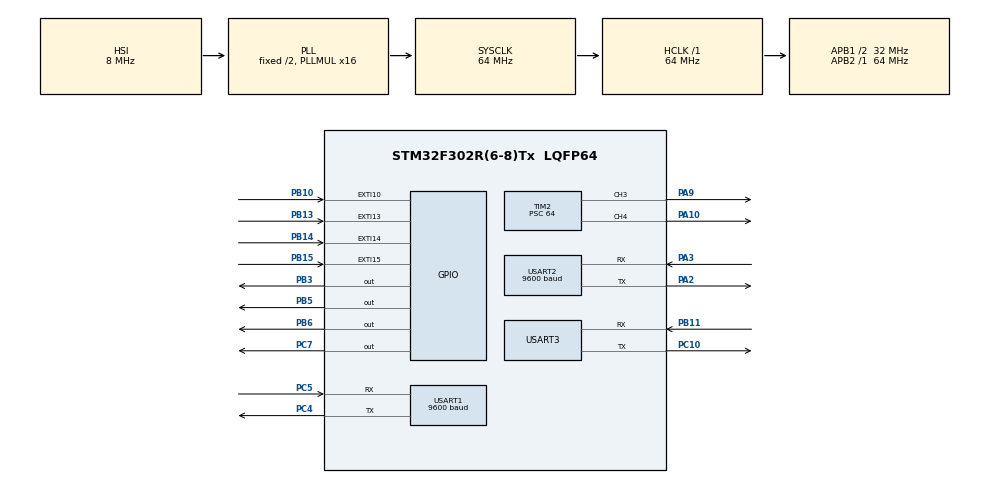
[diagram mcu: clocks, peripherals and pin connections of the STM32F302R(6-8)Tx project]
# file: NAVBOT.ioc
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Mcu.Family=STM32F3
Mcu.Name=STM32F302R(6-8)Tx
Mcu.Package=LQFP64
NVIC.EXTI15_10_IRQn=true\:0\:0\:false\:false\:true\:true
NVIC.PriorityGroup=NVIC_PRIORITYGROUP_0
NVIC.TIM2_IRQn=true\:0\:0\:false\:false\:true\:true
NVIC.USART1_IRQn=true\:0\:0\:false\:false\:true\:true
NVIC.USART2_IRQn=true\:0\:0\:false\:false\:true\:true
NVIC.USART3_IRQn=true\:0\:0\:false\:false\:true\:true
PA10.Signal=S_TIM2_CH4
PA2.Mode=Asynchronous
PA2.Signal=USART2_TX
PA3.Mode=Asynchronous
PA3.Signal=USART2_RX
PA9.Signal=S_TIM2_CH3
PB10.GPIO_ModeDefaultEXTI=GPIO_MODE_IT_RISING_FALLING
PB10.Signal=GPXTI10
PB11.Mode=Asynchronous
PB11.Signal=USART3_RX
PB13.GPIO_ModeDefaultEXTI=GPIO_MODE_IT_RISING_FALLING
PB13.Signal=GPXTI13
PB14.GPIO_ModeDefaultEXTI=GPIO_MODE_IT_RISING_FALLING
PB14.Signal=GPXTI14
PB15.GPIO_ModeDefaultEXTI=GPIO_MODE_IT_RISING_FALLING
PB15.Signal=GPXTI15
PB3.Signal=GPIO_Output
PB5.Signal=GPIO_Output
PB6.Signal=GPIO_Output
PC10.Mode=Asynchronous
PC10.Signal=USART3_TX
PC4.Mode=Asynchronous
PC4.Signal=USART1_TX
PC5.Mode=Asynchronous
PC5.Signal=USART1_RX
PC7.Signal=GPIO_Output
ProjectManager.HeapSize=0x200
ProjectManager.StackSize=0x400
ProjectManager.TargetToolchain=SW4STM32
RCC.AHBFreq_Value=64000000
RCC.APB1CLKDivider=RCC_HCLK_DIV2
RCC.APB1Freq_Value=32000000
RCC.APB1TimFreq_Value=64000000
RCC.APB2Freq_Value=64000000
RCC.APB2TimFreq_Value=64000000
RCC.CortexFreq_Value=64000000
RCC.HCLKFreq_Value=64000000
RCC.HSE_VALUE=8000000
RCC.HSI_VALUE=8000000
RCC.LSE_VALUE=32768
RCC.PLLM=8
RCC.PLLMUL=RCC_PLL_MUL16
RCC.PLLN=336
RCC.PLLP=RCC_PLLP_DIV4
RCC.PLLQ=7
RCC.RCC_PLLsource_Clock_Source_FROM_HSE=RCC_HSE_PREDIV_DIV2
RCC.SYSCLKFreq_VALUE=64000000
RCC.SYSCLKSourceVirtual=RCC_SYSCLKSOURCE_PLLCLK
RCC.USBFreq_Value=64000000
SH.S_TIM2_CH3.0=TIM2_CH3,PWM Generation3 CH3
SH.S_TIM2_CH4.0=TIM2_CH4,PWM Generation4 CH4
TIM2.Channel-PWM\ Generation3\ CH3=TIM_CHANNEL_3
TIM2.Channel-PWM\ Generation4\ CH4=TIM_CHANNEL_4
TIM2.Period=100
TIM2.Prescaler=64
USART1.BaudRate=9600
USART1.VirtualMode-Asynchronous=VM_ASYNC
USART2.BaudRate=9600
USART2.VirtualMode-Asynchronous=VM_ASYNC
USART3.VirtualMode-Asynchronous=VM_ASYNC
VP_TIM2_VS_ClockSourceINT.Mode=Internal
board=NUCLEO-F302R8

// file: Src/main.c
#include "main.h"
#include "stm32f3xx_hal.h"

/* USER CODE BEGIN Includes */
#include "math.h"
#include "string.h"
#include "stdio.h"
#include "stdlib.h"
#include "stm32f3xx_it.h"
/* USER CODE END Includes */

TIM_HandleTypeDef htim2;

UART_HandleTypeDef huart1;
UART_HandleTypeDef huart2;
UART_HandleTypeDef huart3;

/* USER CODE BEGIN PV */
/* Private variables ---------------------------------------------------------*/

//communications
uint8_t buffer_rxx[63];
uint8_t mag_buffer[1];

uint8_t f255=0;
uint8_t s255=0;
uint8_t byte1 = 0;
uint8_t byte2 = 0;
uint8_t byte3 = 0;
uint8_t byte4 = 0;
uint8_t byte_counter = 0;

uint8_t fc255=0;
uint8_t sc255=0;
uint16_t c_len=0;
uint16_t coordinate_count;
uint8_t coordinate_buffer[68];
uint8_t coordinate_buffer_test[60];
uint8_t camera_coordinate_buffer[4];

//uint8_t *camera_coordinates, *camera_temp;
//uint8_t camera_coordinate_count = 0;
//uint8_t fcc255 = 0;
//uint8_t cc_len = 0;
//uint8_t ccrecv = 0;

float mag_data;

//via point variables
int coordinates_received = 0;
int imu_data_received = 0;

//square via points
float x_via_points[] = {0.5,  1.0,  2.0,  2.5,  3.5, 2.5, 2.0, 1.0, 0.0};
float y_via_points[] = {0.0, -0.5, -2.0, -2.5, -3.5,-2.5,-2.0,-0.5, 0.0};

uint8_t *coordinates,*temp;
float *x_via_point_ptr,*y_via_point_ptr,*x_via_point_temp,*y_via_point_temp;

//Global coordinates
float Global_X   = 0;
float Global_Y   = 0;
float Global_phi = 0;

float Global_phi_d = 0;
float Global_X_cam = 0;
float Global_Y_cam = 0;
float Global_phi_cam = 0;

float camera_x = 0;
float camera_y = 0;

uint16_t sum_of_array = 0;
uint16_t previous_sum_of_array = 0;

//Camera variables
uint8_t camera_data_available = 0;

//Encoder counters
int32_t EN1_pulse_counter=0;
int32_t EN2_pulse_counter=0;

//time variables
uint32_t tic=0;
uint32_t toc=0;
uint32_t loop_time=1;

//Encoder 1 variables
float EN1_degrees = 0;
float EN1_previous_degrees = 0;
float EN1_velocity = 0;
float EN1_rotations = 0;
float EN1_rotations_prev = 0;
float EN1_rpm = 0;
float EN1_target_rpm = 1;

//Encoder 2 variables
float EN2_degrees = 0;
float EN2_previous_degrees = 0;
float EN2_velocity = 0;
float EN2_rotations = 0;
float EN2_rotations_prev = 0;
float EN2_rpm = 0;
float EN2_target_rpm = 1;

//UART communication buffer
char buffer[20];
char buffer_tx[] = "hello\n\r";

//Navigation Variables
float dl = 0;
float dr = 0;
float dc = 0;
float phi = 0;
float x_pos = 0;
float y_pos = 0;
float x_goal = 0;
float y_goal = 0;
float phi_d = 0;
float tolerance = 0.1; //10 centimeters
float euclidean_distance = 0;
float dt = 0;
float previous_x_pos = 0;
float previous_y_pos = 0;
float previous_phi = 0;
float Vx = 0;
float Vy = 0;
float Vphi = 0;
float Vl = 0;
float Vr = 0;
float V  = 0;
float phi_dot = 0;
float previous_phi_d = 0;

//Control Variables
//Motor 1 parameters
float M1_Kp = 0.01;
float M1_Ki = 0;
float M1_Kd = 0.1;
float M1_error = 0;
float M1_previous_error = 0;
float M1_diff_error = 0;
float M1_int_error = 0;
float M1_dt=0;
float M1_bias = 0;
float M1_update_pwm = 0;
float M1_pwm = 100;
int M1_moving_average[] = {0,0,0,0,0,0};

//Motor 2 parameters
float M2_Kp = 0.01;
float M2_Ki = 0;
float M2_Kd = 0.1;
float M2_error = 0;
float M2_previous_error = 0;
float M2_diff_error = 0;
float M2_int_error = 0;
float M2_dt=0;
float M2_bias = 0;
float M2_update_pwm = 0;
float M2_pwm = 100;
int M2_moving_average[] = {0,0,0,0,0,0};

//BOT orientation  parameters
float BO_Kp = 40;
float BO_Ki = 0;
float BO_Kd = 0;
float BO_error = 0;
float BO_previous_error = 0;
float BO_diff_error = 0;
float BO_int_error = 0;
float BO_dt=0;
float BO_bias = 0;
float BO_update_pwm = 0;
float BO_pwm = 0;

//BOT constants
float wheel_base   = 0.245;
float wheel_radius = 0.0325;
#define PI 3.14159265358979323846
int encoder_direction[2] = {-1,1};
float wheel_velocity = 90; //rpm
float dist, max_rotations;

uint8_t aRxBuffer[1];
uint8_t recv;
uint8_t mode=0;
uint8_t recvBufSize=1;

uint8_t crecv;
uint8_t cRxBuffer[1];
uint8_t cmode=0;

/* USER CODE END PV */

void SystemClock_Config(void);
static void MX_GPIO_Init(void);
static void MX_USART2_UART_Init(void);
static void MX_TIM2_Init(void);
static void MX_USART1_UART_Init(void);
static void MX_USART3_UART_Init(void);
void HAL_TIM_MspPostInit(TIM_HandleTypeDef *htim);

/* USER CODE BEGIN PFP */
/* Private function prototypes -----------------------------------------------*/
//void print_values(int);
void update_sensor_data(void);
void update_robot_state(void);
void update_robot_control(void);
void update_euclidean_distance(void);
void get_camera_data_status(void);
void convert_data(void);
void PID_BO(void);
void PID_M1(void);
void PID_M2(void);
void get_coordinates(void);

/* USER CODE END PFP */

int main(void)
{

  /* MCU Configuration----------------------------------------------------------*/

  /* Reset of all peripherals, Initializes the Flash interface and the Systick. */
  HAL_Init();

  /* Configure the system clock */
  SystemClock_Config();

  /* Initialize all configured peripherals */
  MX_GPIO_Init();
  MX_USART2_UART_Init();
  MX_TIM2_Init();
  MX_USART1_UART_Init();
  MX_USART3_UART_Init();
  /* USER CODE BEGIN 2 */
  //__HAL_UART_ENABLE_IT(&huart2,UART_IT_RXNE);
  //HAL_UART_Receive_IT(&huart2, coordinates_received, sizeof(coordinates_received));

  HAL_UART_Receive_IT(&huart3, (uint8_t *)cRxBuffer, recvBufSize);
  HAL_UART_Receive_IT(&huart1, (uint8_t *)aRxBuffer, recvBufSize);

  HAL_TIM_PWM_Start(&htim2,TIM_CHANNEL_3);
  HAL_TIM_PWM_Start(&htim2,TIM_CHANNEL_4);
  HAL_GPIO_WritePin(GPIOB,GPIO_PIN_3,1);
  HAL_GPIO_WritePin(GPIOB,GPIO_PIN_5,0);
  HAL_GPIO_WritePin(GPIOC,GPIO_PIN_7,0);
  HAL_GPIO_WritePin(GPIOB,GPIO_PIN_6,1);
  /* USER CODE END 2 */

  /* Infinite loop */
  while (1)
  {
	  __HAL_TIM_SET_COMPARE(&htim2,TIM_CHANNEL_4,100);
	  __HAL_TIM_SET_COMPARE(&htim2,TIM_CHANNEL_3,100);
	  update_robot_state();
  /* USER CODE BEGIN 3 */
  if(coordinates_received==1 && imu_data_received==1)
	{
	  for(int v=0;v<c_len/4;v++)
	  {
		  x_goal = *(x_via_point_ptr+v);
		  y_goal = *(y_via_point_ptr+v);

//		  x_goal = x_via_points[v];
//		  y_goal = y_via_points[v];

		  if(v==0)
		  {
			  HAL_Delay(35000);
		  }

		  while(1)
			  {
			  	  tic = HAL_GetTick();
			  	  update_sensor_data();
			  	  update_robot_state();
			  	  update_robot_control();
			  	  update_euclidean_distance();

			  	  //get_camera_data_status();
			  	  //if(camera_data_available == 1){convert_data();}
			  	  /*if(camera_data_available==0)
			  	  {
			  		  Global_X = Global_X + Vx*100;
			  		  Global_Y = Global_Y + Vy*100;
			  		  Global_phi = Global_phi + Vphi;
			  	  }*/

	  	  	  	  EN1_previous_degrees = EN1_degrees;
	  	  	  	  EN2_previous_degrees = EN2_degrees;

	  	  	  	  HAL_Delay(1);

	  	  	      __HAL_TIM_SET_COMPARE(&htim2,TIM_CHANNEL_4,(int)M1_pwm-3);
	  	  	      __HAL_TIM_SET_COMPARE(&htim2,TIM_CHANNEL_3,(int)M2_pwm);

	  	  	  	  loop_time = HAL_GetTick() - tic;
	  	  	  	  if((float)sqrt(pow((double)(y_goal-y_pos),(double)2)+pow((double)(x_goal-x_pos),(double)2))<0.10){break;}
			  }

	  }

	  __HAL_TIM_SET_COMPARE(&htim2,TIM_CHANNEL_4,100);
	  __HAL_TIM_SET_COMPARE(&htim2,TIM_CHANNEL_3,100);

//	  free(x_via_point_ptr);
//	  free(y_via_point_ptr);
//	  free(coordinates);

//	  }
	  //coordinates_received=0;
  }
 }
}
  /* USER CODE END 3 */

void SystemClock_Config(void)
{

  RCC_OscInitTypeDef RCC_OscInitStruct;
  RCC_ClkInitTypeDef RCC_ClkInitStruct;
  RCC_PeriphCLKInitTypeDef PeriphClkInit;

    /**Initializes the CPU, AHB and APB busses clocks
    */
  RCC_OscInitStruct.OscillatorType = RCC_OSCILLATORTYPE_HSI;
  RCC_OscInitStruct.HSIState = RCC_HSI_ON;
  RCC_OscInitStruct.HSICalibrationValue = 16;
  RCC_OscInitStruct.PLL.PLLState = RCC_PLL_ON;
  RCC_OscInitStruct.PLL.PLLSource = RCC_PLLSOURCE_HSI;
  RCC_OscInitStruct.PLL.PLLMUL = RCC_PLL_MUL16;
  if (HAL_RCC_OscConfig(&RCC_OscInitStruct) != HAL_OK)
  {
    _Error_Handler(__FILE__, __LINE__);
  }

    /**Initializes the CPU, AHB and APB busses clocks
    */
  RCC_ClkInitStruct.ClockType = RCC_CLOCKTYPE_HCLK|RCC_CLOCKTYPE_SYSCLK
                              |RCC_CLOCKTYPE_PCLK1|RCC_CLOCKTYPE_PCLK2;
  RCC_ClkInitStruct.SYSCLKSource = RCC_SYSCLKSOURCE_PLLCLK;
  RCC_ClkInitStruct.AHBCLKDivider = RCC_SYSCLK_DIV1;
  RCC_ClkInitStruct.APB1CLKDivider = RCC_HCLK_DIV2;
  RCC_ClkInitStruct.APB2CLKDivider = RCC_HCLK_DIV1;

  if (HAL_RCC_ClockConfig(&RCC_ClkInitStruct, FLASH_LATENCY_2) != HAL_OK)
  {
    _Error_Handler(__FILE__, __LINE__);
  }

  PeriphClkInit.PeriphClockSelection = RCC_PERIPHCLK_USART1;
  PeriphClkInit.Usart1ClockSelection = RCC_USART1CLKSOURCE_PCLK1;
  if (HAL_RCCEx_PeriphCLKConfig(&PeriphClkInit) != HAL_OK)
  {
    _Error_Handler(__FILE__, __LINE__);
  }

    /**Configure the Systick interrupt time
    */
  HAL_SYSTICK_Config(HAL_RCC_GetHCLKFreq()/1000);

    /**Configure the Systick
    */
  HAL_SYSTICK_CLKSourceConfig(SYSTICK_CLKSOURCE_HCLK);

  /* SysTick_IRQn interrupt configuration */
  HAL_NVIC_SetPriority(SysTick_IRQn, 0, 0);
}

/* TIM2 init function */
static void MX_TIM2_Init(void)
{

  TIM_ClockConfigTypeDef sClockSourceConfig;
  TIM_MasterConfigTypeDef sMasterConfig;
  TIM_OC_InitTypeDef sConfigOC;

  htim2.Instance = TIM2;
  htim2.Init.Prescaler = 64;
  htim2.Init.CounterMode = TIM_COUNTERMODE_UP;
  htim2.Init.Period = 100;
  htim2.Init.ClockDivision = TIM_CLOCKDIVISION_DIV1;
  htim2.Init.AutoReloadPreload = TIM_AUTORELOAD_PRELOAD_DISABLE;
  if (HAL_TIM_Base_Init(&htim2) != HAL_OK)
  {
    _Error_Handler(__FILE__, __LINE__);
  }

  sClockSourceConfig.ClockSource = TIM_CLOCKSOURCE_INTERNAL;
  if (HAL_TIM_ConfigClockSource(&htim2, &sClockSourceConfig) != HAL_OK)
  {
    _Error_Handler(__FILE__, __LINE__);
  }

  if (HAL_TIM_PWM_Init(&htim2) != HAL_OK)
  {
    _Error_Handler(__FILE__, __LINE__);
  }

  sMasterConfig.MasterOutputTrigger = TIM_TRGO_RESET;
  sMasterConfig.MasterSlaveMode = TIM_MASTERSLAVEMODE_DISABLE;
  if (HAL_TIMEx_MasterConfigSynchronization(&htim2, &sMasterConfig) != HAL_OK)
  {
    _Error_Handler(__FILE__, __LINE__);
  }

  sConfigOC.OCMode = TIM_OCMODE_PWM1;
  sConfigOC.Pulse = 0;
  sConfigOC.OCPolarity = TIM_OCPOLARITY_HIGH;
  sConfigOC.OCFastMode = TIM_OCFAST_DISABLE;
  if (HAL_TIM_PWM_ConfigChannel(&htim2, &sConfigOC, TIM_CHANNEL_3) != HAL_OK)
  {
    _Error_Handler(__FILE__, __LINE__);
  }

  if (HAL_TIM_PWM_ConfigChannel(&htim2, &sConfigOC, TIM_CHANNEL_4) != HAL_OK)
  {
    _Error_Handler(__FILE__, __LINE__);
  }

  HAL_TIM_MspPostInit(&htim2);

}

/* USART1 init function */
static void MX_USART1_UART_Init(void)
{

  huart1.Instance = USART1;
  huart1.Init.BaudRate = 9600;
  huart1.Init.WordLength = UART_WORDLENGTH_8B;
  huart1.Init.StopBits = UART_STOPBITS_1;
  huart1.Init.Parity = UART_PARITY_NONE;
  huart1.Init.Mode = UART_MODE_TX_RX;
  huart1.Init.HwFlowCtl = UART_HWCONTROL_NONE;
  huart1.Init.OverSampling = UART_OVERSAMPLING_16;
  huart1.Init.OneBitSampling = UART_ONE_BIT_SAMPLE_DISABLE;
  huart1.AdvancedInit.AdvFeatureInit = UART_ADVFEATURE_NO_INIT;
  if (HAL_UART_Init(&huart1) != HAL_OK)
  {
    _Error_Handler(__FILE__, __LINE__);
  }

}

/* USART2 init function */
static void MX_USART2_UART_Init(void)
{

  huart2.Instance = USART2;
  huart2.Init.BaudRate = 9600;
  huart2.Init.StopBits = UART_STOPBITS_1;
  huart2.Init.Parity = UART_PARITY_NONE;
  huart2.Init.Mode = UART_MODE_TX_RX;
  huart2.Init.HwFlowCtl = UART_HWCONTROL_NONE;
  huart2.Init.OverSampling = UART_OVERSAMPLING_16;
  huart2.Init.OneBitSampling = UART_ONE_BIT_SAMPLE_DISABLE;
  huart2.AdvancedInit.AdvFeatureInit = UART_ADVFEATURE_NO_INIT;
  if (HAL_UART_Init(&huart2) != HAL_OK)
  {
    _Error_Handler(__FILE__, __LINE__);
  }
}

/* USART3 init function */
static void MX_USART3_UART_Init(void)
{

  huart3.Instance = USART3;
  huart3.Init.BaudRate = 9600;
  huart3.Init.StopBits = UART_STOPBITS_1;
  huart3.Init.Parity = UART_PARITY_NONE;
  huart3.Init.Mode = UART_MODE_TX_RX;
  huart3.Init.HwFlowCtl = UART_HWCONTROL_NONE;
  huart3.Init.OverSampling = UART_OVERSAMPLING_16;
  huart3.Init.OneBitSampling = UART_ONE_BIT_SAMPLE_DISABLE;
  huart3.AdvancedInit.AdvFeatureInit = UART_ADVFEATURE_NO_INIT;
  if (HAL_UART_Init(&huart3) != HAL_OK)
  {
    _Error_Handler(__FILE__, __LINE__);
  }

}

/** Configure pins as
        * Analog
        * Input
        * Output
        * EVENT_OUT
        * EXTI
*/
static void MX_GPIO_Init(void)
{

  GPIO_InitTypeDef GPIO_InitStruct;

  /* GPIO Ports Clock Enable */
  __HAL_RCC_GPIOA_CLK_ENABLE();
  __HAL_RCC_GPIOC_CLK_ENABLE();
  __HAL_RCC_GPIOB_CLK_ENABLE();

  /*Configure GPIO pin Output Level */
  HAL_GPIO_WritePin(GPIOC, GPIO_PIN_7, GPIO_PIN_RESET);

  /*Configure GPIO pin Output Level */
  HAL_GPIO_WritePin(GPIOB, GPIO_PIN_3|GPIO_PIN_5|GPIO_PIN_6, GPIO_PIN_RESET);

  /*Configure GPIO pins : PB10 PB13 PB14 PB15 */
  GPIO_InitStruct.Pin = GPIO_PIN_10|GPIO_PIN_13|GPIO_PIN_14|GPIO_PIN_15;
  GPIO_InitStruct.Mode = GPIO_MODE_IT_RISING_FALLING;
  GPIO_InitStruct.Pull = GPIO_NOPULL;
  HAL_GPIO_Init(GPIOB, &GPIO_InitStruct);

  /*Configure GPIO pin : PC7 */
  GPIO_InitStruct.Pin = GPIO_PIN_7;
  GPIO_InitStruct.Mode = GPIO_MODE_OUTPUT_PP;
  GPIO_InitStruct.Pull = GPIO_NOPULL;
  GPIO_InitStruct.Speed = GPIO_SPEED_FREQ_LOW;
  HAL_GPIO_Init(GPIOC, &GPIO_InitStruct);

  /*Configure GPIO pins : PB3 PB5 PB6 */
  GPIO_InitStruct.Pin = GPIO_PIN_3|GPIO_PIN_5|GPIO_PIN_6;
  GPIO_InitStruct.Mode = GPIO_MODE_OUTPUT_PP;
  GPIO_InitStruct.Pull = GPIO_NOPULL;
  GPIO_InitStruct.Speed = GPIO_SPEED_FREQ_LOW;
  HAL_GPIO_Init(GPIOB, &GPIO_InitStruct);

  /* EXTI interrupt init*/
  HAL_NVIC_SetPriority(EXTI15_10_IRQn, 0, 0);
  HAL_NVIC_EnableIRQ(EXTI15_10_IRQn);

}

/* USER CODE BEGIN 4 */
/*void print_values(choice)
{
	switch(choice)
	{
	//printing dps
	case 1:
		HAL_UART_Transmit(&huart2,buffer_tx,20,100);

	 break;

	//printing rotations
	case 2:
		gcvt((float)x_pos,5,buffer);
		strcat(buffer,"  ");
		HAL_UART_Transmit(&huart2,buffer,20,100);
		buffer[0] = '\0';

		gcvt((float)y_pos,5,buffer);
		strcat(buffer,"  ");
		HAL_UART_Transmit(&huart2,buffer,20,100);
		buffer[0] = '\0';

		gcvt((float)phi,5,buffer);
		strcat(buffer,"\n\r");
		HAL_UART_Transmit(&huart2,buffer,20,100);
		buffer[0] = '\0';
		break;

	//printing Degrees
	case 3:
		gcvt((float)EN1_degrees,3,buffer);
		strcat(buffer,"\n\r");
		HAL_UART_Transmit(&huart2,buffer,20,100);
		buffer[0] = '\0';
		break;

	//printing time elapsed
	case 4:
		gcvt((float)loop_time,3,buffer);
		strcat(buffer,"\n\r");
		HAL_UART_Transmit(&huart2,buffer,20,100);
		buffer[0] = '\0';
		break;

	//print rpm
	case 5:
			gcvt((float)EN1_rpm,3,buffer);
			strcat(buffer,"\n\r");
			HAL_UART_Transmit(&huart2,buffer,20,100);
			buffer[0] = '\0';
			break;

	//print rpm
	case 6:
			gcvt((float)EN2_rpm,3,buffer);
			strcat(buffer,"\n\r");
			HAL_UART_Transmit(&huart2,buffer,20,100);
			buffer[0] = '\0';
			break;
	}
}*/

void update_sensor_data(void)
{
	EN1_degrees   = (float)encoder_direction[0]*((float)EN1_pulse_counter/1600)*360;
	EN1_rotations_prev=EN1_rotations;
    EN1_rotations = (float)encoder_direction[0]*((float)EN1_pulse_counter/1600);
    EN1_velocity  = (float)(EN1_degrees - EN1_previous_degrees);
	EN1_rpm 	  = ((EN1_velocity*1000)/loop_time)/6;

	EN2_degrees   = (float)encoder_direction[1]*((float)EN2_pulse_counter/1600)*360;
	EN2_rotations_prev=EN2_rotations;
	EN2_rotations = (float)encoder_direction[1]*(float)EN2_pulse_counter/1600;
	EN2_velocity  = (float)(EN2_degrees - EN2_previous_degrees);
	EN2_rpm 	  = ((EN2_velocity*1000)/loop_time)/6;
}

void update_robot_state(void)
{
//	//odometry updates
//	dl = EN1_rotations*2*PI*wheel_radius;
//	dr = EN2_rotations*2*PI*wheel_radius;
//	dc = (dl+dr)/2;
//	phi = (dr-dl)/wheel_base;
//	y_pos = dc*sin(phi);
//	x_pos = dc*cos(phi);

	//odometry updates
	dl = (EN1_rotations-EN1_rotations_prev)*2*PI*wheel_radius;
	dr = (EN2_rotations-EN2_rotations_prev)*2*PI*wheel_radius;
	dc = (dl+dr)/2;
	//phi +=(dr-dl)/wheel_base;
	y_pos += dc*sin(phi);
	x_pos += dc*cos(phi);

	//phi = mag_data*(PI/180);

//	Vx = (x_pos - previous_x_pos);
//	Vy = (y_pos - previous_y_pos);
//	Vphi = (phi - previous_phi);
//
//	previous_phi = phi;
//	previous_x_pos = x_pos;
//	previous_y_pos = y_pos;
}

void update_robot_control(void)
{
	previous_phi_d = phi_d;
	phi_d = atan2((double)(y_goal-y_pos),(double)(x_goal-x_pos));

	if(abs(phi_d - previous_phi_d)>=PI)
	{
		if(phi_d < previous_phi_d){phi_d += 2*PI;}
		if(phi_d > previous_phi_d){phi_d -= 2*PI;}
	}

	//Global_phi_d = atan2((double)(y_goal*100-Global_Y),(double)(x_goal*100-Global_X));
	//if(y_goal-y_pos>=0){phi_d = phi_d*(-1);}

	BO_error = phi_d - phi;
	PID_BO();

	if(isnan(BO_update_pwm)){BO_update_pwm=0;}

	//M1_pwm = wheel_velocity + BO_update_pwm;
	//M2_pwm = wheel_velocity - BO_update_pwm;
	//if(M1_pwm>100){M1_pwm=100;}
	//if(M1_pwm<0){M1_pwm=0;}
	//if(M2_pwm>100){M2_pwm=100;}
	//if(M2_pwm<0){M2_pwm=0;}

	//set point velocity
	EN1_target_rpm = wheel_velocity - BO_update_pwm;
	EN2_target_rpm = wheel_velocity + BO_update_pwm;

	//motor rpm testing - all data is in rpm
	//EN1_target_rpm = 90;
	//EN2_target_rpm = 90;

	if(EN1_target_rpm<0){EN1_target_rpm=0;}
	if(EN1_target_rpm>wheel_velocity+30){EN1_target_rpm=wheel_velocity+30;}
	if(EN2_target_rpm<0){EN2_target_rpm=0;}
	if(EN2_target_rpm>wheel_velocity+30){EN2_target_rpm=wheel_velocity+30;}

	M1_error =  abs(EN1_target_rpm) - abs(EN1_rpm);
	M2_error =  abs(EN2_target_rpm) - abs(EN2_rpm);

	PID_M1();
	PID_M2();
}

void update_euclidean_distance(void)
{
 	euclidean_distance=(float)sqrt(pow((double)(y_goal-y_pos),(double)2)+pow((double)(x_goal-x_pos),(double)2));
}

void PID_M1()
{
	//M1_dt = 23;
	//M1_int_error = M1_int_error + (M1_error * M1_dt);
	//(M1_Ki*M1_int_error*M1_dt)  +  + M1_bias;

	M1_diff_error = (M1_error - M1_previous_error)/loop_time;
	M1_update_pwm = (M1_Kp*M1_error) + M1_Kd*(M1_diff_error);

	if(M1_update_pwm>10){M1_update_pwm=10;}
	if(M1_update_pwm<-10){M1_update_pwm=-10;}

	M1_pwm = M1_pwm - M1_update_pwm;
	if(M1_pwm>100){M1_pwm=100;}
	if(M1_pwm<0){M1_pwm=0;}

	M1_previous_error = M1_error;
}

void PID_M2()
{
	//M2_dt = (float)loop_time;
	//M2_int_error = M2_int_error + (M2_error * M2_dt);

	M2_diff_error = (M2_error - M2_previous_error)/loop_time;
	M2_update_pwm = (M2_Kp*M2_error) + (M2_Kd*M2_diff_error);

	//+  (M2_Ki*M2_int_error*M2_dt)  +  + M2_bias;

	if(M2_update_pwm>10){M2_update_pwm=10;}
	if(M2_update_pwm<-10){M2_update_pwm=-10;}

	M2_pwm = M2_pwm - M2_update_pwm;

	if(M2_pwm>100){M2_pwm=100;}
	if(M2_pwm<0){M2_pwm=0;}

	M2_previous_error = M2_error;
}

void PID_BO()
{
	//BO_dt = (float)loop_time;
	//BO_diff_error = (BO_error - BO_previous_error)/BO_dt;
	//BO_int_error = BO_int_error + (BO_error * BO_dt);
	BO_update_pwm = (BO_Kp*BO_error);
	//+  (BO_Ki*BO_int_error*BO_dt)  - (BO_Kd*(BO_diff_error/BO_dt)) + BO_bias;

	//M2_previous_error = M2_error;
}

void compute_moving_average()
{
	for(int k = sizeof(M1_moving_average)/sizeof(M1_moving_average[0])-1; k > 0; k--)
	{
		M1_moving_average[k]=M1_moving_average[k-1];
		M2_moving_average[k]=M2_moving_average[k-1];
	}

	M1_moving_average[0] = M1_pwm;
	M2_moving_average[0] = M2_pwm;

	int M1_SUM = 0;
	int M2_SUM = 0;

	for (int k =0 ; k < sizeof(M2_moving_average)/sizeof(M2_moving_average[0]); k--)
	{
		M1_SUM+=M1_moving_average[k];
		M2_SUM+=M2_moving_average[k];
	}

	M1_pwm = M1_SUM / sizeof(M2_moving_average)/sizeof(M2_moving_average[0]);
	M2_pwm = M2_SUM / sizeof(M2_moving_average)/sizeof(M2_moving_average[0]);
}

void convert_data()
{
	if(buffer_rxx[0]==0 || buffer_rxx[0]==1)
	{
		//camera_data_available=1;
		Global_X = (float)buffer_rxx[1]*10 + ((float)buffer_rxx[2])/10;
		Global_Y = (float)buffer_rxx[4]*10 + ((float)buffer_rxx[5])/10;
		Global_phi = (float)buffer_rxx[7]  + ((float)buffer_rxx[8])/100;

		if(buffer_rxx[0]==1){Global_X   = -1*Global_X;}
		if(buffer_rxx[3]==1){Global_Y   = -1*Global_Y;}
		if(buffer_rxx[6]==1){Global_phi = -1*Global_phi;}

//		Global_X = (Global_X_cam + Global_X)/2;
//		Global_X = (Global_Y_cam + Global_Y)/2;
//		Global_X = (Global_phi_cam + Global_phi)/2;
	}
}

//void HAL_UART_RxCpltCallback(UART_HandleTypeDef *huart)
//{
//	UNUSED(huart);
//	//HAL_UART_Receive_IT(&huart1,buffer_rxx,sizeof(buffer_rxx));
//	//if(mag_buffer>128){mag_buffer-255;}
//	phi = ((float)mag_buffer*360.0)*(PI/180.0);
//	HAL_UART_Receive_IT(&huart1,mag_buffer,sizeof(mag_buffer));
//}

void get_camera_data_status()
{
	//sum_of_array  = sum(buffer_rxx,sizeof(buffer_rxx));
	if(sum_of_array-previous_sum_of_array == 0){camera_data_available  = 0;}
	else{camera_data_available = 1;}
    previous_sum_of_array = sum_of_array;
}

int sum(int arr[], int n)
{
    int sum = 0;
    for (int i = 0; i < n; i++)
    sum += arr[i];
    return sum;
}

void get_mag_orientation()
{
	mag_data = (float)mag_buffer[0] * 360.0;
}

void USART1_IRQHandler(void)
{
  /* USER CODE BEGIN USART1_IRQn 0 */

  /* USER CODE END USART1_IRQn 0 */

	HAL_UART_IRQHandler(&huart1,&mode);
	recv=aRxBuffer[0];

	if(mode==1)
		    {
		  	  if(f255==0)//FIRST 255
		  	  {
		  		  if(recv==255)
		  		  {
		  			  f255=1;
		  			  s255=0;
		  			  byte1=255;
		  			  byte2=255;
		  			  byte3=255;
		  			  byte4=255;

		  		  }
		  	  }
		  	  else if(f255==1 && s255==0)//SECOND 255
		  	  {
		  		  if(recv==255)
		  		  {
		  			  s255=1;
		  			  byte1=255;
					  byte2=255;
					  byte3=255;
					  byte4=255;

		  		  }
		  		  else
		  		  {
		  			  f255=0;
		  			  s255=0;
		  			  byte1=255;
					  byte2=255;
					  byte3=255;
					  byte4=255;
		  		  }
		  	  }
		  	  else if(f255==1 && s255==1 && byte1==255)
		  	  {
		  		  if(recv>=0 && recv<=9)
		  		  {
		  			  byte1=recv;
		  			  byte2=255;
		  			  byte3=255;
		  			  byte4=255;
		  		  }
		  		  else
		  		  {
		  			  s255=0;
		  			  f255=0;
		  			  byte1=255;
					  byte2=255;
					  byte3=255;
					  byte4=255;
		  		  }
		  	  }
		  	 else if(f255==1 && s255==1 && byte1<=9 && byte2==255)
		  		{
		  		 if(recv>=0 && recv<=9)
		  			{
		  			  	byte2=recv;
		  			  	byte3=255;
		  			  	byte4=255;
		  			}
		  		else
		  			{
		  		  s255=0;
				  f255=0;
				  byte1=255;
				  byte2=255;
				  byte3=255;
				  byte4=255;
		  			}
		  		}
		  	else if(f255==1 && s255==1 && byte1<=9 && byte2<=9 && byte3==255)
		  		{
		  		if(recv>=0 && recv<=9)
		  			{
		  			byte3=recv;
		  			byte4=255;
		  			}
		  		else
		  			{
		  			s255=0;
		  			f255=0;
		  			byte1=255;
		  			byte2=255;
		  			byte3=255;
		  			byte4=255;
		  			 }
		  		}

		  	else if(f255==1 && s255==1 && byte1<=9 && byte2<=9 && byte3<=9 && byte4==255)
		  		{
		  		if(recv>=0 && recv<=9)
		  			{
		  				byte4=recv;
		  			}
		  		else
		  			 {
		  			  byte4=255;
		  			  byte3=255;
		  			  byte2=255;
		  			  byte1=255;
		  			  s255=0;
		  			  f255=0;
		  			 }

		  		uint16_t recvff = ((uint16_t)byte1*1000)+((uint16_t)byte2*100)+((uint16_t)byte3*10)+((uint16_t)byte4);

		  		float recvf=((float)recvff)/10.0;

		  		if(recvf>180){recvf = recvf-360;}

		  		previous_phi = phi;

		  		phi = recvf*(PI/180);

		  		phi = -1*phi;

		  		if(abs(phi - previous_phi)>=PI)
		  		{
		  			if(phi < previous_phi){phi += 2*PI;}
		  			if(phi > previous_phi){phi -= 2*PI;}
		  		}

		  		imu_data_received = 1;

		  		byte4=255;
		  		byte3=255;
		  		byte2=255;
		  		byte1=255;
		  		s255=0;
		  		f255=0;

		  		}

		    }

	huart1.pRxBuffPtr=aRxBuffer;
	huart1.RxXferCount=recvBufSize;
	if(huart1.RxState==HAL_UART_STATE_READY)
	{
	   HAL_UART_Receive_IT(&huart1, (uint8_t *)aRxBuffer, recvBufSize);
	}

  /* USER CODE BEGIN USART1_IRQn 1 */
  /* USER CODE END USART1_IRQn 1 */

}
/**
* @brief This function handles USART2 global interrupt.
*/
void USART2_IRQHandler(void)
{
  /* USER CODE BEGIN USART2_IRQn 0 */

  /* USER CODE END USART2_IRQn 0 */
  HAL_UART_IRQHandler(&huart2,&mode);
  /* USER CODE BEGIN USART2_IRQn 1 */

  /* USER CODE END USART2_IRQn 1 */
}

/**
* @brief This function handles USART3 global interrupt.
*/
void USART3_IRQHandler(void)
{
  /* USER CODE BEGIN USART3_IRQn 0 */

  /* USER CODE END USART3_IRQn 0 */
	HAL_UART_IRQHandler(&huart3,&cmode);
	crecv=cRxBuffer[0];

	if(cmode==1)
	{
		 if(fc255==0)
			{
			if(crecv==255)
				{
				 fc255=1;
				 }
			}
		 else if(fc255==1 && sc255==0)//SECOND 255
		 	 {
		 	if(crecv==255)
		 	{
		 		sc255=1;
		 		c_len=0;
		 	}
		 	else
		 	{
		 		fc255=0;
		 		sc255=0;
		 		c_len=0;
		 	}
		 	 }
		 else if(fc255==1 && sc255 ==1 && c_len==0)
		 {
			 if(crecv>0)
			 {
				 c_len = crecv;
				 coordinates = (uint8_t *)calloc(c_len,sizeof(uint8_t));
				 temp = coordinates;
			 }
			 else
			 {
				 fc255=0;
				 sc255=0;
				 c_len=0;
			 }
		 }
		 else if(fc255==1 && sc255 ==1 && c_len>0)
		 {
			 //coordinate_buffer[coordinate_count] = crecv;
			 *coordinates = crecv;
			 coordinates++;
			 coordinate_count++;

			 if(coordinate_count==c_len)
			 {
				 coordinates = temp;
				 get_coordinates();
//				 uint8_t ack = 255;
//				 HAL_UART_Transmit(&huart3,&ack,sizeof(ack),100);
//				 fc255 = 0;
//				 sc255 = 0;
//				 c_len = 0;
//				 coordinate_count=0;
			 }
		 }

//		 if(fcc255==0 && fc255==0)
//		 {
//			 if(crecv==244)
//			 	{
//				 fcc255=1;
//			 	}
//		 }
//
//		 else if(fcc255==1 && cc_len == 0)
//		 {
//			 if(crecv>0)
//			 {
//				 cc_len = crecv;
//			 }
//			 else
//			 {
//				 fcc255=0;
//				 cc_len=0;
//			 }
//			 camera_coordinates = (uint8_t *)calloc(cc_len,sizeof(uint8_t));
//			 camera_temp = camera_coordinates;
//		 }
//
//		 else if(fcc255==1 && cc_len > 0)
//		 {
//			 camera_coordinate_buffer[camera_coordinate_count] = crecv;
//			 *camera_coordinates = crecv;
//			 camera_coordinates++;
//			 camera_coordinate_count++;
//		 }

//			if(camera_coordinate_count==cc_len)
//			{
//				camera_coordinates = camera_temp;
//
//				uint16_t X = (*(camera_coordinates+0) <<8 ) | *(camera_coordinates+1) ;
//
//				if(X>32768)
//				{
//					camera_x = ((float)(32768-X))/100;
//				}
//				else
//				{
//					camera_x = ((float)X)/100;
//				}
//
//				uint16_t Y = (*(camera_coordinates+2) << 8) | *(camera_coordinates+3);
//
//				if(Y>32768)
//				{
//					camera_y = ((float)(32768-Y))/100;
//				}
//				else
//				{
//					camera_y = ((float)Y)/100;
//				}
//
//
//			camera_coordinates = camera_temp;
//			fcc255 = 0;
//			cc_len = 0;
//			}

	}
  /* USER CODE BEGIN USART3_IRQn 1 */
	huart3.pRxBuffPtr=aRxBuffer;
	huart3.RxXferCount=recvBufSize;
	if(huart3.RxState==HAL_UART_STATE_READY)
	{
		HAL_UART_Receive_IT(&huart3, (uint8_t *)cRxBuffer, recvBufSize);
	}
  /* USER CODE END USART3_IRQn 1 */
}

//void get_pointer_data()

void get_coordinates(void)
{

	x_via_point_ptr = (float *)calloc(c_len/4,sizeof(float));
	y_via_point_ptr = (float *)calloc(c_len/4,sizeof(float));

	x_via_point_temp = x_via_point_ptr;
	y_via_point_temp = y_via_point_ptr;

	for(int i=0;i<c_len/4;i++)
	{
		uint16_t X = (*(coordinates + (i*4)+0) <<8 ) | *(coordinates + (i*4)+1) ;

	    if(X>32768)
	    {
	    	*x_via_point_ptr = ((float)(32768-X))/100;
	    	x_via_point_ptr++;
	    }
	    else
		{
	    	*x_via_point_ptr = ((float)X)/100;
	    	x_via_point_ptr++;
		}

	    uint16_t Y = (*(coordinates + (i*4)+2) << 8) | *(coordinates + (i*4)+3);

	    if(Y>32768)
	    {
	    	*y_via_point_ptr = ((float)(32768-Y))/100;
	    	y_via_point_ptr++;
	    }
	    else
	    {
	    	*y_via_point_ptr = ((float)Y)/100;
	    	y_via_point_ptr++;
	    }
	}

	coordinates_received = 1;

	coordinates = temp;
	x_via_point_ptr = x_via_point_temp;
	y_via_point_ptr = y_via_point_temp;

}

/* USER CODE END 4 */

void _Error_Handler(char *file, int line)
{
  while(1)
  {
  }
}
